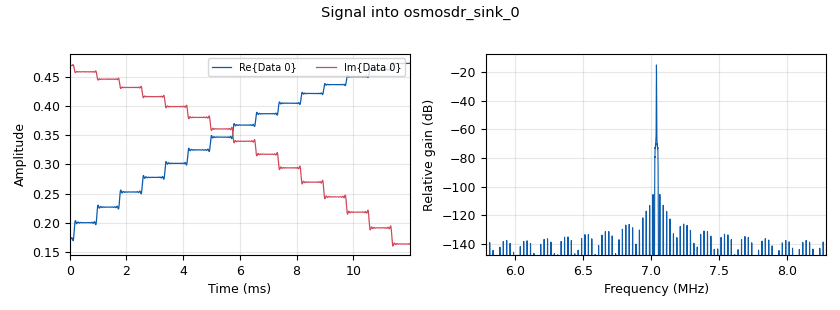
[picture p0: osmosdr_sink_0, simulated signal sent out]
options:
  parameters:
    generate_options: no_gui
    id: modulator
    output_language: python
    run_options: run
    title: Modulator
  states: {}

blocks:
- name: dev_samp_rate
  id: variable
  parameters:
    value: 2.5e6
  states: {}
- name: gaussian_interp
  id: variable
  parameters:
    value: '20'
  states: {}
- name: samp_rate
  id: variable
  parameters:
    value: 25e3
  states: {}
- name: am_symbols
  id: parameter
  parameters:
    label: am_symbols
    type: str
    value: 0.5,1,1,1,0.5,0.5,0.5,1,0.5,1
  states: {}
- name: analog_frequency_modulator_fc_0
  id: analog_frequency_modulator_fc
  parameters:
    sensitivity: 2*3.14159265358979323846*1.4648/samp_rate
  states: {}
- name: blocks_multiply_xx_0
  id: blocks_multiply_xx
  parameters:
    type: complex
  states: {}
- name: blocks_repeat_0
  id: blocks_repeat
  parameters:
    interp: int(1.4648*samp_rate/gaussian_interp)
    type: float
  states: {}
- name: blocks_repeat_0_0
  id: blocks_repeat
  parameters:
    interp: int(1.4648*samp_rate)
    type: complex
  states: {}
- name: blocks_vector_source_x_0
  id: blocks_vector_source_x
  parameters:
    repeat: 'False'
    type: float
    vector: '[float(x) for x in wspr_symbols.split('','')]'
  states: {}
- name: blocks_vector_source_x_0_0
  id: blocks_vector_source_x
  parameters:
    repeat: 'False'
    type: complex
    vector: '[float(x) for x in am_symbols.split('','')]'
  states: {}
- name: freq
  id: parameter
  parameters:
    label: freq
    type: eng_float
    value: '7040100'
  states: {}
- name: interp_fir_filter_xxx_0
  id: interp_fir_filter_xxx
  parameters:
    interp: gaussian_interp
    taps: 4*gaussian_interp
    type: fff
  states: {}
- name: osmosdr_sink_0
  id: osmosdr_sink
  parameters:
    args: ''
    bb_gain0: '20'
    bw0: 1e3
    freq0: freq
    gain0: '10'
    if_gain0: '20'
    sample_rate: dev_samp_rate
    sync: sync
    type: fc32
  states: {}
- name: rational_resampler_xxx_0
  id: rational_resampler_xxx
  parameters:
    decim: int(samp_rate)
    interp: int(dev_samp_rate)
    taps: ''
    type: ccc
  states: {}
- name: wspr_symbols
  id: parameter
  parameters:
    label: wspr_symbols
    type: str
    value: '-2,1,0,-2,-1,0,-2,-2,2,2'
  states: {}

connections:
- [analog_frequency_modulator_fc_0, '0', blocks_multiply_xx_0, '0']
- [blocks_multiply_xx_0, '0', rational_resampler_xxx_0, '0']
- [blocks_repeat_0, '0', interp_fir_filter_xxx_0, '0']
- [blocks_repeat_0_0, '0', blocks_multiply_xx_0, '1']
- [blocks_vector_source_x_0, '0', blocks_repeat_0, '0']
- [blocks_vector_source_x_0_0, '0', blocks_repeat_0_0, '0']
- [interp_fir_filter_xxx_0, '0', analog_frequency_modulator_fc_0, '0']
- [rational_resampler_xxx_0, '0', osmosdr_sink_0, '0']

metadata:
  file_format: 1
